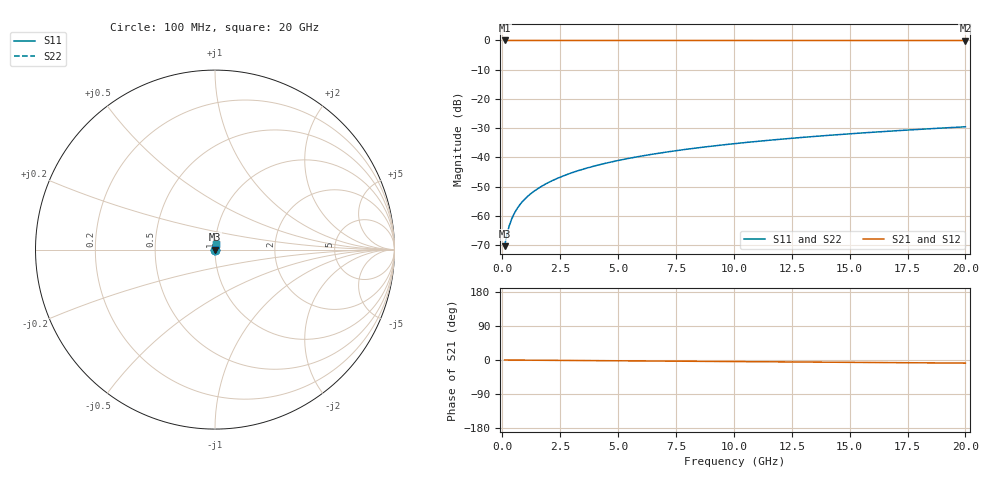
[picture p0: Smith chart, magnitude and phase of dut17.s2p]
! Touchstone file exported from HFSS 2026.1.0
!  File:  C:/ffzhzh/LocalFiles/Ansys_Project_Files/temp_test_TSV_17_1782978348_45308.aedt
!  Generated:  03:47:21 PM Jul  2, 2026
!  Design:  TSV
!  Project:  temp_test_TSV_17_1782978348_45308
! Variables:
!  h_bsmrdl = 2um
!  h_ox = 20um
!  h_rdl = 5um
!  h_sub = 80.06um
!  h_tmrdl = 5um
!  h_tsv = 80.06um
!  h_via = 3um
!  l_bsmrdl = 300um
!  l_sub = 414.36um
!  l_tmrdl = 200um
!  m_sub = 200um
!  pitch = 39.3um
!  r_tsv = 7.18um
!  s_tmrdl = 10um
!  w_bsmrdl = 18um
!  w_sub = 500um
!  w_tmrdl = 12um
!  x_tsv_center1 = 206um
!  x_tsv_center2 = 524um
!  x_tsv_center3 = 736um
!  x_tsv_center4 = 1054um
!  x_tsv_center5 = 1266um
!  x_tsv_center6 = 1584um
# GHz S MA R 50.000000
! Terminal data exported
! Port[1] = TSV1_1_T1
! Port[2] = TSV1_1_T2
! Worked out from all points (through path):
!   200 points, 100 MHz to 20 GHz, reference 50 ohm
!   highest |S21| = 0.00 dB at 100 MHz (marker M1); lowest = 0.0 dB at 20 GHz (marker M2)
!   group delay of S21, straight-line fit = 1.14 ps
!   lowest |S11| = -70.4 dB at 100 MHz (marker M3), VSWR 1.00, Z = 50 + j0.0212 ohm
!   |S11| at or under -10 dB: start of sweep to end of sweep
!   |S22| runs from -70.4 to -29.6 dB; largest |S21 - S12| = 2.4e-15
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0.1  0.0003013 44.6  0.9998 -0.0  0.9998 -0.0  0.0003013 44.6
! Gamma 0 0 0 0
! Port Impedance 50 0 50 0
0.2  0.0004776 61.8  0.9998 -0.1  0.9998 -0.1  0.0004776 61.8
0.3  0.0006717 68.8  0.9998 -0.1  0.9998 -0.1  0.0006717 68.8
0.4  0.0008678 72.3  0.9997 -0.2  0.9997 -0.2  0.0008678 72.3
0.5  0.001061 74.2  0.9997 -0.2  0.9997 -0.2  0.001061 74.2
0.6  0.001251 75.5  0.9997 -0.3  0.9997 -0.3  0.001251 75.5
0.7  0.001438 76.4  0.9997 -0.3  0.9997 -0.3  0.001438 76.4
0.8  0.001621 77.1  0.9996 -0.3  0.9996 -0.3  0.001621 77.1
1  0.001979 78.1  0.9996 -0.4  0.9996 -0.4  0.001979 78.1
1.4  0.002678 79.5  0.9995 -0.6  0.9995 -0.6  0.002678 79.5
1.7  0.003197 80.3  0.9995 -0.7  0.9995 -0.7  0.003197 80.3
2  0.003714 80.9  0.9995 -0.8  0.9995 -0.8  0.003714 80.9
2.7  0.004916 81.8  0.9994 -1.1  0.9994 -1.1  0.004916 81.8
3.5  0.006283 82.3  0.9993 -1.5  0.9993 -1.5  0.006283 82.3
4.2  0.00747 82.5  0.9992 -1.7  0.9992 -1.7  0.00747 82.5
5  0.008817 82.6  0.9991 -2.1  0.9991 -2.1  0.008817 82.6
6.8  0.01182 82.5  0.999 -2.8  0.999 -2.8  0.01182 82.5
8.3  0.01429 82.3  0.9988 -3.4  0.9988 -3.4  0.01429 82.3
10.1  0.01725 82.0  0.9987 -4.2  0.9987 -4.2  0.01725 82.0
13.4  0.02264 81.1  0.9984 -5.5  0.9984 -5.5  0.02264 81.1
16.7  0.02799 80.1  0.9981 -6.9  0.9981 -6.9  0.02799 80.1
20  0.03328 79.0  0.9978 -8.2  0.9978 -8.2  0.03328 79.0
